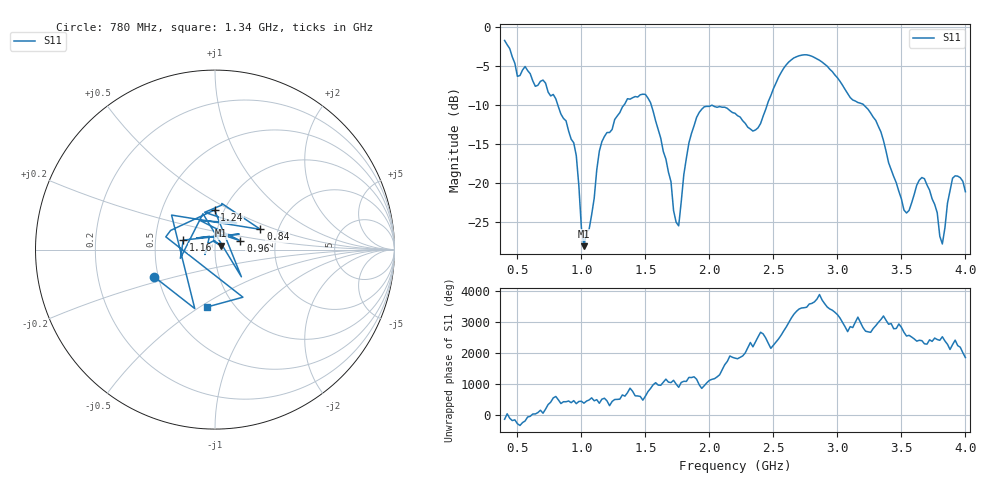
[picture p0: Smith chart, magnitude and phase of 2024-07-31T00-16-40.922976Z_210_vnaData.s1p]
!Created with skrf (http://scikit-rf.org).
# Hz S RI R 50.0
!freq ReS11 ImS11
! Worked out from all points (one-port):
!   181 points, 400 MHz to 4 GHz, reference 50 ohm
!   lowest |S11| = -28.1 dB at 1.02 GHz (marker M1), VSWR 1.08, Z = 53.3 + j2.38 ohm
!   |S11| at or under -10 dB: 816.1 MHz to 1.332 GHz (515.5 MHz wide, 48 % of centre); 1.546 GHz to 2.451 GHz (904.7 MHz wide, 45.3 % of centre); 3.208 GHz to end of sweep
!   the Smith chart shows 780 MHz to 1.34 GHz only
!   S11 on the Smith chart (normalised r, x): 780 MHz: 0.48, -0.17; 840 MHz: 1.62, +0.40; 960 MHz: 1.32, +0.13; 1.16 GHz: 0.70, +0.08; 1.24 GHz: 0.90, +0.42; 1.34 GHz: 0.75, -0.54
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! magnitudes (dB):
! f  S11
! 400 MHz  -1.7
! 500 MHz  -6.3
! 560 MHz  -5.0
! 780 MHz  -8.6
! 840 MHz  -11.1
! 860 MHz  -11.7
! 960 MHz  -16.5
! 1.02 GHz  -28.1
! 1.16 GHz  -14.7
! 1.24 GHz  -13.1
! 1.3 GHz  -11.0
! 1.34 GHz  -9.8
! 1.54 GHz  -9.7
! 1.76 GHz  -25.5
! 1.82 GHz  -16.8
! 1.9 GHz  -11.6
! 2.2 GHz  -11.0
! 2.38 GHz  -12.9
! 2.66 GHz  -3.9
! 2.88 GHz  -4.5
! 3.1 GHz  -9.0
! 3.3 GHz  -12.0
! 3.52 GHz  -23.5
! 3.56 GHz  -23.5
! 3.68 GHz  -19.5
! 3.82 GHz  -27.8
! 3.9 GHz  -19.4
! 4 GHz  -21.1
